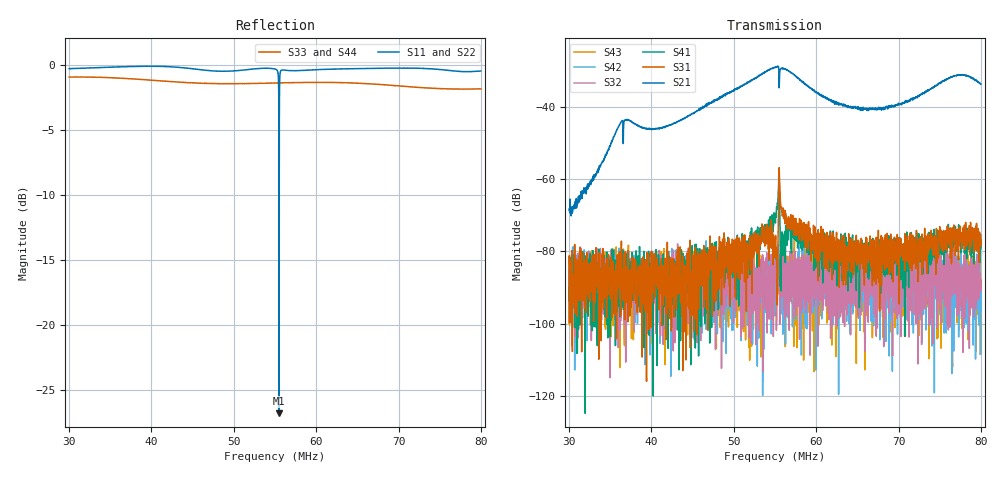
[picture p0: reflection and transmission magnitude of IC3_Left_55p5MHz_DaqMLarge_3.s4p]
#  HZ  S  DB  R  50.00
! Rohde & Schwarz Vector Network Analyzer
! Rohde-Schwarz,ZNB8-4Port,1311601044102961,2.82
! Created: UTC 2/12/2019, 12:11:47 PM
! freq[Hz]  db:S11  ang:S11  db:S12  ang:S12  db:S13  ang:S13  db:S14  ang:S14
!  db:S21  ang:S21  db:S22  ang:S22  db:S23  ang:S23  db:S24  ang:S24
!  db:S31  ang:S31  db:S32  ang:S32  db:S33  ang:S33  db:S34  ang:S34
!  db:S41  ang:S41  db:S42  ang:S42  db:S43  ang:S43  db:S44  ang:S44
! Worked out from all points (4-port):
!   2001 points, 30 MHz to 80 MHz, reference 50 ohm
!   strongest paths, dB at 30 MHz, 42.5 MHz, 55 MHz, 67.5 MHz, 80 MHz:
!     S21: -68.6, -44.8, -29.2, -40.6, -33.8
!     S31: -99.8, -82.2, -76.9, -80.7, -76.8
!     S41: -93.5, -94.8, -71.1, -81.1, -77.7
!     S32: -91.9, -81.1, -88.7, -92.1, -88.2
!     S42: -93.9, -89.4, -81.9, -83.1, -96.6
!     S43: -81.3, -91.2, -84.2, -82.7, -93.3
!   lowest |S11| = -26.8 dB at 55.5 MHz (marker M1), VSWR 1.10, Z = 53.9 - j2.78 ohm
!   |S11| at or under -10 dB: 55.48052 MHz to 55.51874 MHz (38.22 kHz wide, 0.0689 % of centre)
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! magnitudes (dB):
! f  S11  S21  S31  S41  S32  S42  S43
! 30 MHz  -0.3  -68.6  -99.8  -93.5  -91.9  -93.9  -81.3
! 36.27 MHz  -0.1  -44.4  -82.0  -86.2  -94.8  -90.2  -91.1
! 55.1 MHz  -0.3  -29.1  -80.8  -70.6  -87.9  -89.0  -86.4
! 55.5 MHz  -26.8  -34.8  -56.9  -57.5  -80.7  -81.1  -91.8
! 55.9 MHz  -0.4  -29.3  -70.3  -78.5  -92.3  -96.6  -83.9
! 65.58 MHz  -0.3  -40.7  -78.5  -78.6  -88.3  -82.9  -86.2
! 80 MHz  -0.5  -33.8  -76.8  -77.7  -88.2  -96.6  -93.3
